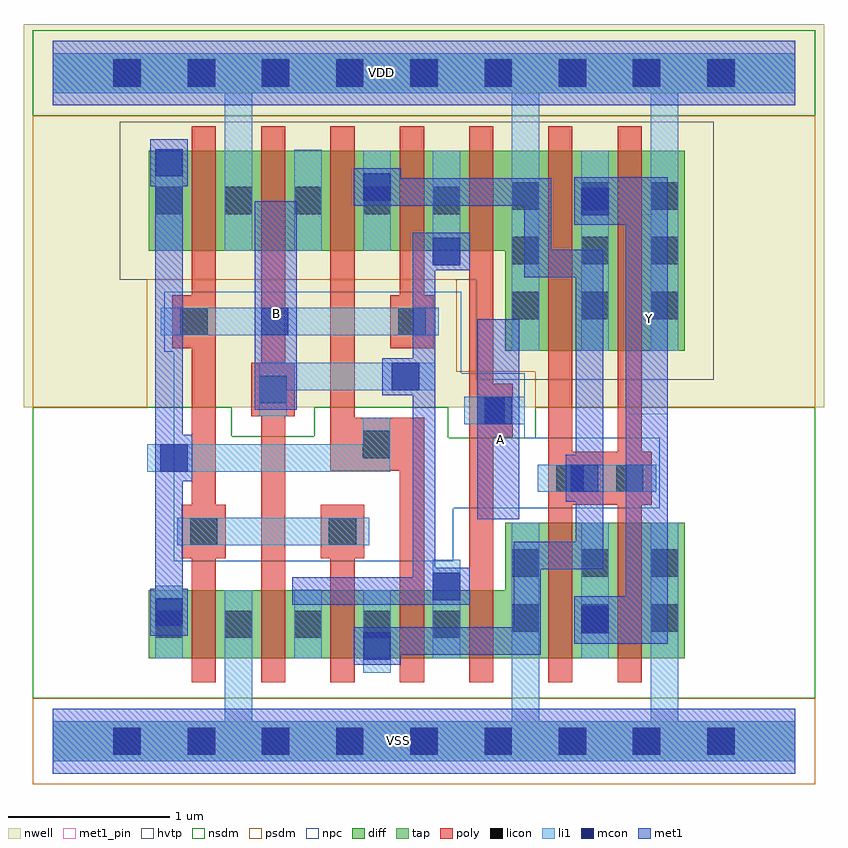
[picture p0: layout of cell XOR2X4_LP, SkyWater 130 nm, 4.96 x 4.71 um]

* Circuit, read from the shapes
.subckt XOR2X4_LP A B VDD VSS Y
XM1 VSS B n1 VSS sky130_fd_pr__nfet_01v8 w=0.42 l=0.15
XM2 n2 n3 VSS VSS sky130_fd_pr__nfet_01v8 w=0.42 l=0.15
XM3 n4 B n2 VSS sky130_fd_pr__nfet_01v8 w=0.42 l=0.15
XM4 n3 n1 n4 VSS sky130_fd_pr__nfet_01v8 w=0.42 l=0.15
XM5 VSS A n3 VSS sky130_fd_pr__nfet_01v8 w=0.42 l=0.15
XM6 Y n4 VSS VSS sky130_fd_pr__nfet_01v8 w=0.84 l=0.15 m=2
XM7 VDD B n1 VDD sky130_fd_pr__pfet_01v8_hvt w=0.62 l=0.15
XM8 n5 n3 VDD VDD sky130_fd_pr__pfet_01v8_hvt w=0.62 l=0.15
XM9 n4 n1 n5 VDD sky130_fd_pr__pfet_01v8_hvt w=0.62 l=0.15
XM10 n3 B n4 VDD sky130_fd_pr__pfet_01v8_hvt w=0.62 l=0.15
XM11 VDD A n3 VDD sky130_fd_pr__pfet_01v8_hvt w=0.62 l=0.15
XM12 Y n4 VDD VDD sky130_fd_pr__pfet_01v8_hvt w=1.24 l=0.15 m=2
.ends

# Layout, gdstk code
from math import pi, radians
import gdstk
lib = gdstk.Library(unit=1e-6, precision=1e-09)
def R(c, l, rs):  # rectangles x0, y0, x1, y1
    for r in rs: c.add(gdstk.rectangle(r[:2], r[2:], *l))
def A(c, l, x, y, w, h, nx, ny, dx, dy):  # array of equal rectangles
    R(c, l, [(x+i*dx, y+j*dy, x+i*dx+w, y+j*dy+h) for i in range(nx) for j in range(ny)])
def P(c, l, *ps):  # polygons
    for p in ps: c.add(gdstk.Polygon(p, *l))
nwell = (64, 20)
diff = (65, 20)
tap = (65, 44)
poly = (66, 20)
licon = (66, 44)
li1 = (67, 20)
mcon = (67, 44)
met1_pin = (68, 16)
met1 = (68, 20)
hvtp = (78, 44)
nsdm = (93, 44)
psdm = (94, 20)
npc = (95, 20)

l1m1_c_cdns_758729379650 = lib.new_cell('L1M1_C_CDNS_758729379650')
R(l1m1_c_cdns_758729379650, li1, [(-0.085,-0.085,0.085,0.165)])
R(l1m1_c_cdns_758729379650, mcon, [(-0.085,-0.085,0.085,0.085)])
R(l1m1_c_cdns_758729379650, met1, [(-0.145,-0.115,0.145,0.115)])

l1m1_c_cdns_758729379651 = lib.new_cell('L1M1_C_CDNS_758729379651')
R(l1m1_c_cdns_758729379651, li1, [(-0.085,-0.165,0.085,0.085)])
R(l1m1_c_cdns_758729379651, mcon, [(-0.085,-0.085,0.085,0.085)])
R(l1m1_c_cdns_758729379651, met1, [(-0.145,-0.115,0.145,0.115)])

l1m1_c_cdns_758729379652 = lib.new_cell('L1M1_C_CDNS_758729379652')
R(l1m1_c_cdns_758729379652, li1, [(-0.085,-0.165,0.085,0.165)])
R(l1m1_c_cdns_758729379652, mcon, [(-0.085,-0.085,0.085,0.085)])
R(l1m1_c_cdns_758729379652, met1, [(-0.145,-0.115,0.145,0.115)])

pyl1con_c_cdns_758729379 = lib.new_cell('PYL1CON_C_CDNS_758729379653')
R(pyl1con_c_cdns_758729379, poly, [(-0.135,-0.165,0.135,0.165)])
R(pyl1con_c_cdns_758729379, licon, [(-0.085,-0.085,0.085,0.085)])
R(pyl1con_c_cdns_758729379, npc, [(-0.185,-0.185,0.185,0.185)])

l1m1_c_cdns_758729379654 = lib.new_cell('L1M1_C_CDNS_758729379654')
R(l1m1_c_cdns_758729379654, li1, [(-0.165,-0.085,0.165,0.085)])
R(l1m1_c_cdns_758729379654, mcon, [(-0.085,-0.085,0.085,0.085)])
R(l1m1_c_cdns_758729379654, met1, [(-0.115,-0.145,0.115,0.145)])

l1m1_c_cdns_758729379655 = lib.new_cell('L1M1_C_CDNS_758729379655')
R(l1m1_c_cdns_758729379655, li1, [(-0.085,-0.165,0.085,0.165)])
R(l1m1_c_cdns_758729379655, mcon, [(-0.085,-0.085,0.085,0.085)])
R(l1m1_c_cdns_758729379655, met1, [(-0.115,-0.145,0.115,0.145)])

l1m1_c_cdns_758729379656 = lib.new_cell('L1M1_C_CDNS_758729379656')
R(l1m1_c_cdns_758729379656, li1, [(-0.085,-0.085,0.085,0.085)])
R(l1m1_c_cdns_758729379656, mcon, [(-0.085,-0.085,0.085,0.085)])
R(l1m1_c_cdns_758729379656, met1, [(-0.145,-0.115,0.145,0.115)])

licondiff_c_cdns_7587293 = lib.new_cell('LICONDIFF_C_CDNS_758729379657')
R(licondiff_c_cdns_7587293, diff, [(-0.125,-0.145,0.125,0.145)])
R(licondiff_c_cdns_7587293, licon, [(-0.085,-0.085,0.085,0.085), (-0.085,-0.085,0.085,0.085)])

l1m1_c_cdns_758729379658 = lib.new_cell('L1M1_C_CDNS_758729379658')
R(l1m1_c_cdns_758729379658, li1, [(-0.085,-0.165,0.085,0.085)])
R(l1m1_c_cdns_758729379658, mcon, [(-0.085,-0.085,0.085,0.085)])
R(l1m1_c_cdns_758729379658, met1, [(-0.115,-0.145,0.115,0.145)])

xor2x4_lp = lib.new_cell('XOR2X4_LP')
R(xor2x4_lp, nwell, [(-0.18,2.07,4.78,4.445)])
P(xor2x4_lp, diff, [(3.915,3.66),(0.595,3.66),(0.595,3.04),(2.805,3.04),(2.805,2.42),(3.915,2.42)],
  [(3.915,1.355),(2.805,1.355),(2.805,0.935),(0.595,0.935),(0.595,0.515),(3.915,0.515)])
R(xor2x4_lp, poly, [(0.86,0.365,1.01,3.81), (1.29,0.365,1.44,3.81), (1.72,0.365,1.87,1.3), (2.58,0.365,2.73,3.81), (2.15,2.6,2.3,3.81)])
P(xor2x4_lp, poly, [(2.3,2.005),(1.87,2.005),(1.87,3.81),(1.72,3.81),(1.72,1.675),(2.15,1.675),(2.15,0.365),(2.3,0.365)],
  [(3.65,3.81),(3.5,3.81),(3.5,1.795),(3.22,1.795),(3.22,3.81),(3.07,3.81),(3.07,0.365),(3.22,0.365),(3.22,1.465),(3.5,1.465),(3.5,0.365),(3.65,0.365)])
A(xor2x4_lp, licon, 0.375, -0.085, 0.17, 0.17, 9, 2, 0.46, 4.14)
A(xor2x4_lp, licon, 2.845, 0.68, 0.17, 0.17, 3, 2, 0.43, 0.34)
A(xor2x4_lp, licon, 2.845, 2.615, 0.17, 0.17, 3, 3, 0.43, 0.34)
R(xor2x4_lp, licon, [(0.635,0.64,0.805,0.81), (1.065,0.64,1.235,0.81), (1.925,0.64,2.095,0.81), (2.355,0.64,2.525,0.81), (0.635,3.265,0.805,3.435), (1.065,3.265,1.235,3.435), (1.925,3.265,2.095,3.435), (2.355,3.265,2.525,3.435)])
R(xor2x4_lp, li1, [(0.635,0.515,0.805,0.935), (1.925,0.515,2.095,0.935), (2.355,0.515,2.525,0.935), (3.275,0.515,3.445,1.355), (3.275,2.42,3.445,3.66), (0.635,3.04,0.805,3.66), (1.925,3.04,2.095,3.66), (2.355,3.04,2.525,3.66)])
P(xor2x4_lp, li1, [(2.09,2.005),(1.92,2.005),(1.92,1.84),(0.71,1.84),(0.71,1.67),(2.09,1.67)],
  [(4.6,4.265),(0,4.265),(0,4.015),(1.065,4.015),(1.065,3.04),(1.235,3.04),(1.235,4.015),(2.845,4.015),(2.845,2.42),(3.015,2.42),(3.015,4.015),(3.705,4.015),(3.705,2.42),(3.875,2.42),(3.875,4.015),(4.6,4.015)],
  [(4.6,0.125),(3.875,0.125),(3.875,1.355),(3.705,1.355),(3.705,0.125),(3.015,0.125),(3.015,1.355),(2.845,1.355),(2.845,0.125),(1.235,0.125),(1.235,0.935),(1.065,0.935),(1.065,0.125),(0,0.125),(0,-0.125),(4.6,-0.125)])
A(xor2x4_lp, mcon, 0.375, -0.085, 0.17, 0.17, 9, 2, 0.46, 4.14)
R(xor2x4_lp, met1_pin, [(2.63,1.375,2.89,2.615), (3.55,2.025,3.81,3.265), (1.25,2.055,1.51,3.345)])
P(xor2x4_lp, met1, [(2.585,3.15),(2.23,3.15),(2.23,1.015),(1.485,1.015),(1.485,0.845),(2.44,0.845),(2.44,1.015),(2.37,1.015),(2.37,2.98),(2.585,2.98)],
  [(3.41,3.045),(3.09,3.045),(3.09,3.49),(1.865,3.49),(1.865,3.32),(2.92,3.32),(2.92,2.875),(3.24,2.875),(3.24,1.235),(2.855,1.235),(2.855,0.705),(1.865,0.705),(1.865,0.535),(3.025,0.535),(3.025,1.065),(3.41,1.065)],
  [(3.81,3.495),(3.23,3.495),(3.23,3.2),(3.55,3.2),(3.55,0.9),(3.23,0.9),(3.23,0.605),(3.81,0.605)])
P(xor2x4_lp, hvtp, [(4.095,3.84),(0.415,3.84),(0.415,2.86),(2.625,2.86),(2.625,2.24),(4.095,2.24)])
R(xor2x4_lp, nsdm, [(-0.125,3.875,4.725,4.405)])
P(xor2x4_lp, nsdm, [(4.725,2.07),(2.99,2.07),(2.99,1.88),(2.45,1.88),(2.45,2.07),(1.62,2.07),(1.62,1.89),(1.11,1.89),(1.11,2.07),(-0.125,2.07),(-0.125,0.265),(4.725,0.265)])
R(xor2x4_lp, psdm, [(-0.125,-0.265,4.725,0.265)])
P(xor2x4_lp, psdm, [(4.725,3.875),(-0.125,3.875),(-0.125,2.07),(0.585,2.07),(0.585,2.86),(2.5,2.86),(2.5,2.29),(2.99,2.29),(2.99,2.07),(4.725,2.07)])
P(xor2x4_lp, npc, [(3.76,1.88),(2.925,1.88),(2.925,2.28),(2.53,2.28),(2.53,2.785),(0.75,2.785),(0.75,1.115),(2.48,1.115),(2.48,1.445),(3.76,1.445)])
xor2x4_lp.add(gdstk.FlexPath([(1.58,0.515),(1.58,0.94)], 0.17, ends="flush", simple_path=True, layer=67, datatype=20))  # li1
xor2x4_lp.add(gdstk.FlexPath([(1.58,3.04),(1.58,3.665)], 0.17, ends="flush", simple_path=True, layer=67, datatype=20))  # li1
xor2x4_lp.add(gdstk.FlexPath([(3.005,1.63),(3.74,1.63)], 0.17, ends="flush", simple_path=True, layer=67, datatype=20))  # li1
xor2x4_lp.add(gdstk.FlexPath([(2.925,2.05),(2.55,2.05)], 0.17, ends="flush", simple_path=True, layer=67, datatype=20))  # li1
xor2x4_lp.add(gdstk.FlexPath([(0.77,1.3),(1.96,1.3)], 0.17, ends="flush", simple_path=True, layer=67, datatype=20))  # li1
xor2x4_lp.add(gdstk.FlexPath([(0.67,2.6),(2.39,2.6)], 0.17, ends="flush", simple_path=True, layer=67, datatype=20))  # li1
xor2x4_lp.add(gdstk.FlexPath([(1.365,2.015),(1.365,2.26),(2.37,2.26)], 0.17, ends="flush", simple_path=True, layer=67, datatype=20))  # li1
xor2x4_lp.add(gdstk.FlexPath([(0,4.14),(4.6,4.14)], 0.4, ends="flush", simple_path=True, layer=68, datatype=20))  # met1
xor2x4_lp.add(gdstk.FlexPath([(0,0),(4.6,0)], 0.4, ends="flush", simple_path=True, layer=68, datatype=20))  # met1
xor2x4_lp.add(gdstk.FlexPath([(2.76,1.375),(2.76,2.615)], 0.26, ends="flush", simple_path=True, layer=68, datatype=20))  # met1
xor2x4_lp.add(gdstk.FlexPath([(1.38,2.055),(1.38,3.345)], 0.26, ends="flush", simple_path=True, layer=68, datatype=20))  # met1
xor2x4_lp.add(gdstk.FlexPath([(0.72,0.655),(0.72,3.73)], 0.17, ends="flush", simple_path=True, layer=68, datatype=20))  # met1
xor2x4_lp.add(gdstk.FlexPath([(0,4.14),(4.6,4.14)], 0.4, ends="flush", simple_path=True, layer=68, datatype=16))  # met1_pin
xor2x4_lp.add(gdstk.FlexPath([(0,0),(4.6,0)], 0.4, ends="flush", simple_path=True, layer=68, datatype=16))  # met1_pin
xor2x4_lp.add(gdstk.FlexPath([(0,4.14),(4.6,4.14)], 0.25, ends="flush", simple_path=True, layer=65, datatype=44))  # tap
xor2x4_lp.add(gdstk.FlexPath([(0,0),(4.6,0)], 0.25, ends="flush", simple_path=True, layer=65, datatype=44))  # tap
xor2x4_lp.add(gdstk.Reference(l1m1_c_cdns_758729379650, (2.01,0.59), rotation=pi))
xor2x4_lp.add(gdstk.Reference(l1m1_c_cdns_758729379651, (3.295,1.63), rotation=pi/2))
xor2x4_lp.add(gdstk.Reference(l1m1_c_cdns_758729379652, (2.44,0.96), x_reflection=True))
xor2x4_lp.add(gdstk.Reference(pyl1con_c_cdns_758729379, (3.575,1.63), rotation=pi))
xor2x4_lp.add(gdstk.Reference(pyl1con_c_cdns_758729379, (3.205,1.63), rotation=pi))
xor2x4_lp.add(gdstk.Reference(pyl1con_c_cdns_758729379, (1.365,2.18), rotation=pi))
xor2x4_lp.add(gdstk.Reference(pyl1con_c_cdns_758729379, (2.715,2.05), rotation=pi))
xor2x4_lp.add(gdstk.Reference(pyl1con_c_cdns_758729379, (1.795,1.3), rotation=pi))
xor2x4_lp.add(gdstk.Reference(pyl1con_c_cdns_758729379, (0.935,1.3), rotation=pi))
xor2x4_lp.add(gdstk.Reference(pyl1con_c_cdns_758729379, (2.225,2.6), rotation=pi))
xor2x4_lp.add(gdstk.Reference(pyl1con_c_cdns_758729379, (0.875,2.6), rotation=pi))
xor2x4_lp.add(gdstk.Reference(pyl1con_c_cdns_758729379, (2.005,1.84), x_reflection=True))
xor2x4_lp.add(gdstk.Reference(l1m1_c_cdns_758729379654, (2.76,2.05), x_reflection=True))
xor2x4_lp.add(gdstk.Reference(l1m1_c_cdns_758729379654, (1.375,2.6), x_reflection=True))
xor2x4_lp.add(gdstk.Reference(l1m1_c_cdns_758729379654, (0.75,1.755), rotation=pi, x_reflection=True))
xor2x4_lp.add(gdstk.Reference(l1m1_c_cdns_758729379655, (3.36,0.755)))
xor2x4_lp.add(gdstk.Reference(l1m1_c_cdns_758729379655, (3.36,3.345)))
xor2x4_lp.add(gdstk.Reference(l1m1_c_cdns_758729379655, (0.72,0.8)))
xor2x4_lp.add(gdstk.Reference(l1m1_c_cdns_758729379656, (2.01,3.435), rotation=pi))
xor2x4_lp.add(gdstk.Reference(l1m1_c_cdns_758729379656, (2.44,3.035), x_reflection=True))
xor2x4_lp.add(gdstk.Reference(licondiff_c_cdns_7587293, (1.58,0.725)))
xor2x4_lp.add(gdstk.Reference(licondiff_c_cdns_7587293, (1.58,3.35)))
xor2x4_lp.add(gdstk.Reference(l1m1_c_cdns_758729379658, (0.72,3.585)))
xor2x4_lp.add(gdstk.Reference(l1m1_c_cdns_758729379658, (2.185,2.26), rotation=pi/2, x_reflection=True))
xor2x4_lp.add(gdstk.Label('VDD', (2.035,4.145), layer=68, texttype=5))
xor2x4_lp.add(gdstk.Label('Y', (3.695,2.62), layer=68, texttype=5))
xor2x4_lp.add(gdstk.Label('B', (1.385,2.65), layer=68, texttype=5))
xor2x4_lp.add(gdstk.Label('VSS', (2.14,0.005), layer=68, texttype=5))
xor2x4_lp.add(gdstk.Label('A', (2.775,1.87), layer=68, texttype=5))

lib.write_gds('XOR2X4_LP.gds')
